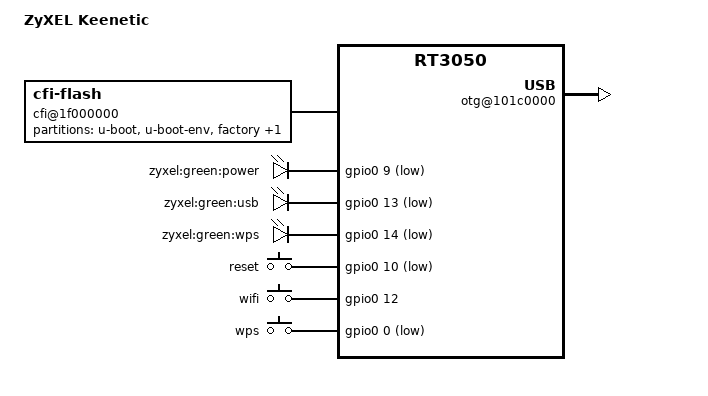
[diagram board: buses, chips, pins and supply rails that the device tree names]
/dts-v1/;

/include/ "rt3050.dtsi"

/ {
	compatible = "KEENETIC", "ralink,rt3050-soc";
	model = "ZyXEL Keenetic";

	pinctrl {
		state_default: pinctrl0 {
			gpio {
				ralink,group = "i2c", "jtag", "uartf";
				ralink,function = "gpio";
			};
		};
	};

	cfi@1f000000 {
		compatible = "cfi-flash";
		reg = <0x1f000000 0x800000>;

		bank-width = <2>;
		device-width = <2>;
		#address-cells = <1>;
		#size-cells = <1>;

		partition@0 {
			label = "u-boot";
			reg = <0x0 0x30000>;
			read-only;
		};

		partition@30000 {
			label = "u-boot-env";
			reg = <0x30000 0x10000>;
			read-only;
		};

		factory: partition@40000 {
			label = "factory";
			reg = <0x40000 0x10000>;
			read-only;
		};

		partition@50000 {
			label = "firmware";
			reg = <0x50000 0x7b0000>;
		};
	};

	ethernet@10100000 {
		mtd-mac-address = <&factory 0x28>;
	};

	esw@10110000 {
		ralink,portmap = <0x2f>;
	};

	wmac@10180000 {
		ralink,mtd-eeprom = <&factory 0>;
	};

	gpio-leds {
		compatible = "gpio-leds";

		power {
			label = "zyxel:green:power";
			gpios = <&gpio0 9 1>;
		};

		usb {
			label = "zyxel:green:usb";
			gpios = <&gpio0 13 1>;
		};

		wps {
			label = "zyxel:green:wps";
			gpios = <&gpio0 14 1>;
		};
	};

	gpio-keys-polled {
	compatible = "gpio-keys-polled";
	#address-cells = <1>;
	#size-cells = <0>;
	poll-interval = <20>;

		reset {
			label = "reset";
			gpios = <&gpio0 10 1>;
			linux,code = <0x198>;
		};

		/* 1-on, 0-off */
		wifi {
			label = "wifi";
			gpios = <&gpio0 12 0>;
			linux,code = <0xf7>;
			linux,input-type = <5>; /* EV_SW */
		};

		wps {
			label = "wps";
			gpios = <&gpio0 0 1>;
			linux,code = <0x211>;
		};
	};

	otg@101c0000 {
		status = "okay";
	};
};
